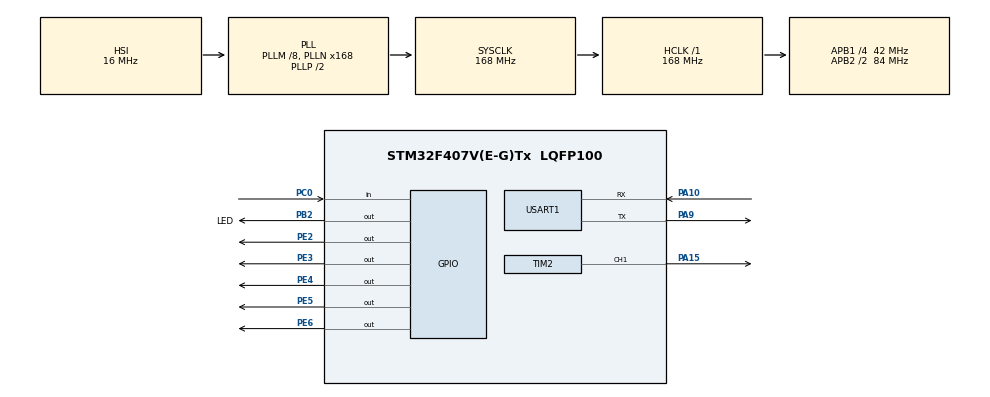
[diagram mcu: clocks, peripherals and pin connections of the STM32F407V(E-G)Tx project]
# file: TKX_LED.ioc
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FREERTOS.Tasks01=defaultTask,24,128,StartDefaultTask,Default,NULL,Dynamic,NULL,NULL
Mcu.Family=STM32F4
Mcu.Name=STM32F407V(E-G)Tx
Mcu.Package=LQFP100
NVIC.PriorityGroup=NVIC_PRIORITYGROUP_4
PA10.Mode=Asynchronous
PA10.Signal=USART1_RX
PA13.Mode=Serial_Wire
PA13.Signal=SYS_JTMS-SWDIO
PA14.Mode=Serial_Wire
PA14.Signal=SYS_JTCK-SWCLK
PA15.Signal=S_TIM2_CH1_ETR
PA9.Mode=Asynchronous
PA9.Signal=USART1_TX
PB2.GPIO_Label=LED
PB2.GPIO_Speed=GPIO_SPEED_FREQ_LOW
PB2.PinState=GPIO_PIN_RESET
PB2.Signal=GPIO_Output
PC0.Signal=GPIO_Input
PE2.GPIO_Speed=GPIO_SPEED_FREQ_VERY_HIGH
PE2.Signal=GPIO_Output
PE3.GPIO_Speed=GPIO_SPEED_FREQ_VERY_HIGH
PE3.Signal=GPIO_Output
PE4.GPIO_Speed=GPIO_SPEED_FREQ_VERY_HIGH
PE4.Signal=GPIO_Output
PE5.GPIO_Speed=GPIO_SPEED_FREQ_VERY_HIGH
PE5.Signal=GPIO_Output
PE6.GPIO_Speed=GPIO_SPEED_FREQ_VERY_HIGH
PE6.Signal=GPIO_Output
PH0-OSC_IN.Mode=HSE-External-Oscillator
PH0-OSC_IN.Signal=RCC_OSC_IN
PH1-OSC_OUT.Mode=HSE-External-Oscillator
PH1-OSC_OUT.Signal=RCC_OSC_OUT
ProjectManager.HeapSize=0x200
ProjectManager.StackSize=0x400
ProjectManager.TargetToolchain=MDK-ARM V5.32
RCC.48MHZClocksFreq_Value=84000000
RCC.AHBFreq_Value=168000000
RCC.APB1CLKDivider=RCC_HCLK_DIV4
RCC.APB1Freq_Value=42000000
RCC.APB1TimFreq_Value=84000000
RCC.APB2CLKDivider=RCC_HCLK_DIV2
RCC.APB2Freq_Value=84000000
RCC.APB2TimFreq_Value=168000000
RCC.CortexFreq_Value=168000000
RCC.HCLKFreq_Value=168000000
RCC.HSE_VALUE=8000000
RCC.HSI_VALUE=16000000
RCC.LSE_VALUE=32768
RCC.PLLM=8
RCC.PLLN=168
RCC.SYSCLKFreq_VALUE=168000000
RCC.SYSCLKSource=RCC_SYSCLKSOURCE_PLLCLK
RCC.VCOOutputFreq_Value=336000000
SH.S_TIM2_CH1_ETR.0=TIM2_CH1,PWM Generation1 CH1
TIM2.AutoReloadPreload=TIM_AUTORELOAD_PRELOAD_ENABLE
TIM2.Channel-PWM\ Generation1\ CH1=TIM_CHANNEL_1
TIM2.OCPolarity_1=TIM_OCPOLARITY_LOW
TIM2.Period=249
TIM2.Prescaler=83
TIM2.Pulse-PWM\ Generation1\ CH1=124
USART1.VirtualMode=VM_ASYNC
VP_FREERTOS_VS_CMSIS_V2.Mode=CMSIS_V2
VP_TIM2_VS_ClockSourceINT.Mode=Internal
board=custom

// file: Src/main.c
/* USER CODE BEGIN Header */
/**
  ******************************************************************************
  * @file           : main.c
  * @brief          : Main program body
  ******************************************************************************
  * @attention
  *
  * Copyright (c) 2025 STMicroelectronics.
  * All rights reserved.
  *
  * This software is licensed under terms that can be found in the LICENSE file
  * in the root directory of this software component.
  * If no LICENSE file comes with this software, it is provided AS-IS.
  *
  ******************************************************************************
  */
/* USER CODE END Header */
#include "main.h"
#include "cmsis_os.h"
#include "tim.h"
#include "usart.h"
#include "gpio.h"

void SystemClock_Config(void);
void MX_FREERTOS_Init(void);

int main(void)
{

  /* MCU Configuration--------------------------------------------------------*/

  /* Reset of all peripherals, Initializes the Flash interface and the Systick. */
  HAL_Init();

  /* Configure the system clock */
  SystemClock_Config();

  /* Initialize all configured peripherals */
  MX_GPIO_Init();
  MX_USART1_UART_Init();
  MX_TIM2_Init();
  /* USER CODE BEGIN 2 */
  // HAL_TIM_PWM_Start(&htim2, TIM_CHANNEL_1);
  /* USER CODE END 2 */

  /* Init scheduler */
  osKernelInitialize();

  /* Call init function for freertos objects (in cmsis_os2.c) */
  MX_FREERTOS_Init();

  /* Start scheduler */
  osKernelStart();

  /* We should never get here as control is now taken by the scheduler */

  /* Infinite loop */
  while (1)
  {

  }
}

void SystemClock_Config(void)
{
  RCC_OscInitTypeDef RCC_OscInitStruct = {0};
  RCC_ClkInitTypeDef RCC_ClkInitStruct = {0};

  /** Configure the main internal regulator output voltage
  */
  __HAL_RCC_PWR_CLK_ENABLE();
  __HAL_PWR_VOLTAGESCALING_CONFIG(PWR_REGULATOR_VOLTAGE_SCALE1);

  /** Initializes the RCC Oscillators according to the specified parameters
  * in the RCC_OscInitTypeDef structure.
  */
  RCC_OscInitStruct.OscillatorType = RCC_OSCILLATORTYPE_HSI;
  RCC_OscInitStruct.HSIState = RCC_HSI_ON;
  RCC_OscInitStruct.HSICalibrationValue = RCC_HSICALIBRATION_DEFAULT;
  RCC_OscInitStruct.PLL.PLLState = RCC_PLL_ON;
  RCC_OscInitStruct.PLL.PLLSource = RCC_PLLSOURCE_HSI;
  RCC_OscInitStruct.PLL.PLLM = 8;
  RCC_OscInitStruct.PLL.PLLN = 168;
  RCC_OscInitStruct.PLL.PLLP = RCC_PLLP_DIV2;
  RCC_OscInitStruct.PLL.PLLQ = 4;
  if (HAL_RCC_OscConfig(&RCC_OscInitStruct) != HAL_OK)
  {
    Error_Handler();
  }

  /** Initializes the CPU, AHB and APB buses clocks
  */
  RCC_ClkInitStruct.ClockType = RCC_CLOCKTYPE_HCLK|RCC_CLOCKTYPE_SYSCLK
                              |RCC_CLOCKTYPE_PCLK1|RCC_CLOCKTYPE_PCLK2;
  RCC_ClkInitStruct.SYSCLKSource = RCC_SYSCLKSOURCE_PLLCLK;
  RCC_ClkInitStruct.AHBCLKDivider = RCC_SYSCLK_DIV1;
  RCC_ClkInitStruct.APB1CLKDivider = RCC_HCLK_DIV4;
  RCC_ClkInitStruct.APB2CLKDivider = RCC_HCLK_DIV2;

  if (HAL_RCC_ClockConfig(&RCC_ClkInitStruct, FLASH_LATENCY_5) != HAL_OK)
  {
    Error_Handler();
  }
}

void Error_Handler(void)
{
  __disable_irq();
  while (1)
  {
  }
}

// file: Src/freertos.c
/* USER CODE BEGIN Header */
/**
  ******************************************************************************
  * File Name          : freertos.c
  * Description        : Code for freertos applications
  ******************************************************************************
  * @attention
  *
  * Copyright (c) 2025 STMicroelectronics.
  * All rights reserved.
  *
  * This software is licensed under terms that can be found in the LICENSE file
  * in the root directory of this software component.
  * If no LICENSE file comes with this software, it is provided AS-IS.
  *
  ******************************************************************************
  */
/* USER CODE END Header */

#include "FreeRTOS.h"
#include "task.h"
#include "main.h"
#include "cmsis_os.h"

/* USER CODE BEGIN Includes */
#include "74HC595.h"
#include "74HC165.h"
/* USER CODE END Includes */

/* Definitions for defaultTask */
osThreadId_t defaultTaskHandle;
const osThreadAttr_t defaultTask_attributes = {
  .name = "defaultTask",
  .stack_size = 128 * 12,
  .priority = (osPriority_t) osPriorityNormal,
};

void StartDefaultTask(void *argument);

void MX_FREERTOS_Init(void); /* (MISRA C 2004 rule 8.1) */

void MX_FREERTOS_Init(void) {

  /* Create the thread(s) */
  /* creation of defaultTask */
  defaultTaskHandle = osThreadNew(StartDefaultTask, NULL, &defaultTask_attributes);

}

void StartDefaultTask(void *argument)
{
  /* USER CODE BEGIN StartDefaultTask */
  HC595_Init(); // Initialize the 74HC595
  HC165_Init(); // Initialize the 74HC165
  uint8_t ioState[3] = {0}; // Buffer to store the state of the 74HC165
  Beep_Demo(); // Play the demo melody
  /* Infinite loop */
  for(;;)
  {
    HAL_GPIO_TogglePin(LED_GPIO_Port, LED_Pin);
    HC595_ToggleIO(0); // Toggle the first IO
    HC595_ToggleIO(1); // Toggle the first IO
    HC595_ToggleIO(2); // Toggle the first IO
    HC595_ToggleIO(3); // Toggle the first IO
    HC595_ToggleIO(4); // Toggle the first IO
    HC165_ReadMultiBytes(ioState, 3); // Read the state of the 74HC165
    printf("IO State: %02X %02X %02X\n", ioState[0], ioState[1], ioState[2]); // Print the state
    osDelay(100);
  }
  /* USER CODE END StartDefaultTask */
}
